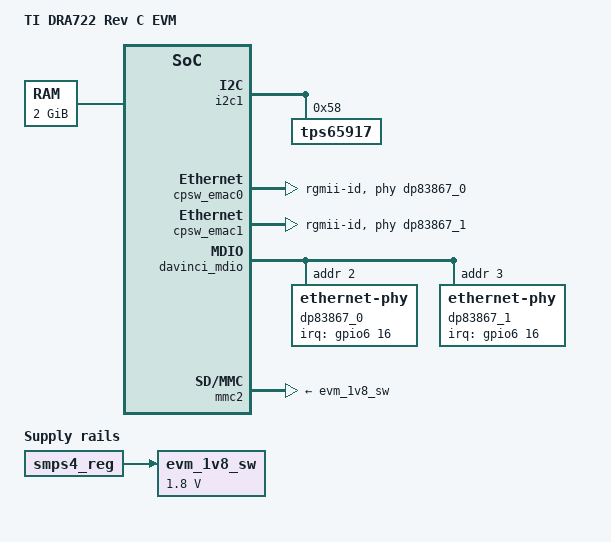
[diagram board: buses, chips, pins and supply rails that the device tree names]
/*
 * Copyright (C) 2016 Texas Instruments Incorporated - http://www.ti.com/
 *
 * This program is free software; you can redistribute it and/or modify
 * it under the terms of the GNU General Public License version 2 as
 * published by the Free Software Foundation.
 */
#include "dra72-evm-common.dtsi"
#include "dra72x-mmc-iodelay.dtsi"
#include <dt-bindings/net/ti-dp83867.h>

/ {
	model = "TI DRA722 Rev C EVM";

	memory@0 {
		device_type = "memory";
		reg = <0x0 0x80000000 0x0 0x80000000>; /* 2GB */
	};

	evm_1v8_sw: fixedregulator-evm_1v8 {
		compatible = "regulator-fixed";
		regulator-name = "evm_1v8";
		regulator-min-microvolt = <1800000>;
		regulator-max-microvolt = <1800000>;
		vin-supply = <&smps4_reg>;
		regulator-always-on;
		regulator-boot-on;
	};
};

&i2c1 {
	tps65917: tps65917@58 {
		reg = <0x58>;

		interrupts = <GIC_SPI 2 IRQ_TYPE_NONE>;  /* IRQ_SYS_1N */
	};
};

#include "dra72-evm-tps65917.dtsi"

&ldo2_reg {
	/* LDO2_OUT --> VDDA_1V8_PHY2 */
	regulator-always-on;
	regulator-boot-on;
};

&hdmi {
	vdda-supply = <&ldo2_reg>;
};

&pcf_gpio_21 {
	interrupt-parent = <&gpio3>;
	interrupts = <30 IRQ_TYPE_EDGE_FALLING>;
};

&mac {
	mode-gpios = <&pcf_gpio_21 4 GPIO_ACTIVE_LOW>,
		     <&pcf_hdmi 9 GPIO_ACTIVE_LOW>,	/* P11 */
		     <&pcf_hdmi 10 GPIO_ACTIVE_LOW>;	/* P12 */
	dual_emac;
};

&cpsw_emac0 {
	phy-handle = <&dp83867_0>;
	phy-mode = "rgmii-id";
	dual_emac_res_vlan = <1>;
};

&cpsw_emac1 {
	phy-handle = <&dp83867_1>;
	phy-mode = "rgmii-id";
	dual_emac_res_vlan = <2>;
};

&davinci_mdio {
	dp83867_0: ethernet-phy@2 {
		reg = <2>;
		ti,rx-internal-delay = <DP83867_RGMIIDCTL_2_25_NS>;
		ti,tx-internal-delay = <DP83867_RGMIIDCTL_250_PS>;
		ti,fifo-depth = <DP83867_PHYCR_FIFO_DEPTH_8_B_NIB>;
		ti,min-output-impedance;
		interrupt-parent = <&gpio6>;
		interrupts = <16 IRQ_TYPE_EDGE_FALLING>;
		ti,dp83867-rxctrl-strap-quirk;
	};

	dp83867_1: ethernet-phy@3 {
		reg = <3>;
		ti,rx-internal-delay = <DP83867_RGMIIDCTL_2_25_NS>;
		ti,tx-internal-delay = <DP83867_RGMIIDCTL_250_PS>;
		ti,fifo-depth = <DP83867_PHYCR_FIFO_DEPTH_8_B_NIB>;
		ti,min-output-impedance;
		interrupt-parent = <&gpio6>;
		interrupts = <16 IRQ_TYPE_EDGE_FALLING>;
		ti,dp83867-rxctrl-strap-quirk;
	};
};

&mmc1 {
	pinctrl-names = "default", "hs", "sdr12", "sdr25", "sdr50", "ddr50", "sdr104";
	pinctrl-0 = <&mmc1_pins_default>;
	pinctrl-1 = <&mmc1_pins_hs>;
	pinctrl-2 = <&mmc1_pins_sdr12>;
	pinctrl-3 = <&mmc1_pins_sdr25>;
	pinctrl-4 = <&mmc1_pins_sdr50>;
	pinctrl-5 = <&mmc1_pins_ddr50_rev20 &mmc1_iodelay_ddr50_conf>;
	pinctrl-6 = <&mmc1_pins_sdr104 &mmc1_iodelay_sdr104_rev20_conf>;
	vqmmc-supply = <&ldo1_reg>;
};

&mmc2 {
	pinctrl-names = "default", "hs", "ddr_1_8v", "hs200_1_8v";
	pinctrl-0 = <&mmc2_pins_default>;
	pinctrl-1 = <&mmc2_pins_hs>;
	pinctrl-2 = <&mmc2_pins_ddr_rev20 &mmc2_iodelay_ddr_conf>;
	pinctrl-3 = <&mmc2_pins_hs200 &mmc2_iodelay_hs200_rev20_conf>;
	vmmc-supply = <&evm_1v8_sw>;
};
